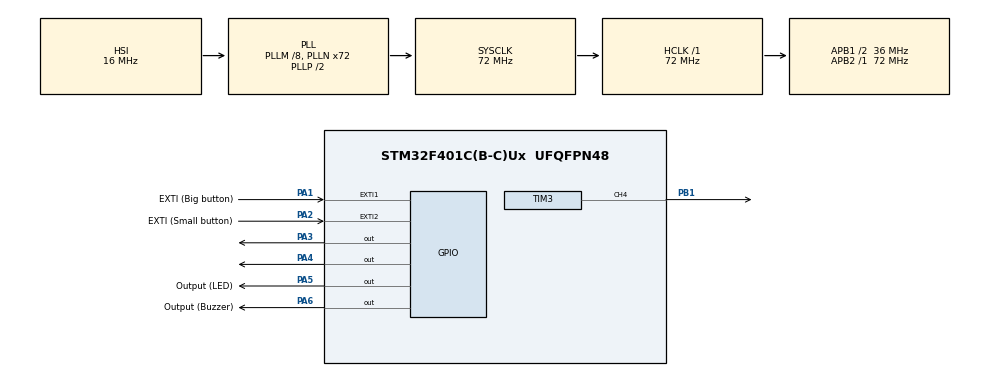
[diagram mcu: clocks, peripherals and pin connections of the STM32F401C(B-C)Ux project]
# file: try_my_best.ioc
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Mcu.Family=STM32F4
Mcu.Name=STM32F401C(B-C)Ux
Mcu.Package=UFQFPN48
NVIC.EXTI1_IRQn=true\:0\:0\:false\:false\:true\:true\:true\:true
NVIC.EXTI2_IRQn=true\:0\:0\:false\:false\:true\:true\:true\:true
NVIC.PriorityGroup=NVIC_PRIORITYGROUP_4
NVIC.RTC_Alarm_IRQn=true\:0\:0\:false\:false\:true\:true\:true\:true
NVIC.TIM2_IRQn=true\:0\:0\:false\:false\:true\:true\:true\:true
NVIC.TIM3_IRQn=true\:0\:0\:false\:false\:true\:true\:true\:true
PA1.GPIO_Label=EXTI (Big button)
PA1.GPIO_PuPd=GPIO_PULLDOWN
PA1.Signal=GPXTI1
PA13.Mode=Serial_Wire
PA13.Signal=SYS_JTMS-SWDIO
PA14.Mode=Serial_Wire
PA14.Signal=SYS_JTCK-SWCLK
PA2.GPIO_Label=EXTI (Small button)
PA2.GPIO_PuPd=GPIO_PULLDOWN
PA2.Signal=GPXTI2
PA3.GPIO_PuPd=GPIO_NOPULL
PA3.Signal=GPIO_Output
PA4.Signal=GPIO_Output
PA5.GPIO_Label=Output (LED)
PA5.Signal=GPIO_Output
PA6.GPIO_Label=Output (Buzzer)
PA6.Signal=GPIO_Output
PB1.GPIO_PuPd=GPIO_NOPULL
PB1.Signal=S_TIM3_CH4
PC14-OSC32_IN.Mode=LSE-External-Oscillator
PC14-OSC32_IN.Signal=RCC_OSC32_IN
PC15-OSC32_OUT.Mode=LSE-External-Oscillator
PC15-OSC32_OUT.Signal=RCC_OSC32_OUT
PH0\ -\ OSC_IN.Mode=HSE-External-Oscillator
PH0\ -\ OSC_IN.Signal=RCC_OSC_IN
PH1\ -\ OSC_OUT.Mode=HSE-External-Oscillator
PH1\ -\ OSC_OUT.Signal=RCC_OSC_OUT
ProjectManager.HeapSize=0x200
ProjectManager.StackSize=0x400
ProjectManager.TargetToolchain=STM32CubeIDE
RCC.48MHZClocksFreq_Value=36000000
RCC.AHBFreq_Value=72000000
RCC.APB1CLKDivider=RCC_HCLK_DIV2
RCC.APB1Freq_Value=36000000
RCC.APB1TimFreq_Value=72000000
RCC.APB2Freq_Value=72000000
RCC.APB2TimFreq_Value=72000000
RCC.CortexFreq_Value=72000000
RCC.HCLKFreq_Value=72000000
RCC.HSE_VALUE=25000000
RCC.HSI_VALUE=16000000
RCC.PLLM=8
RCC.PLLN=72
RCC.SYSCLKFreq_VALUE=72000000
RCC.SYSCLKSource=RCC_SYSCLKSOURCE_PLLCLK
RCC.VCOOutputFreq_Value=144000000
RTC.Alarm=RTC_ALARM_A
RTC.Hours=0
RTC.Hours_A=0
RTC.Seconds_A=2
SH.S_TIM3_CH4.0=TIM3_CH4,PWM Generation4 CH4
TIM2.Period=50
TIM2.Prescaler=7199
TIM3.Channel-PWM\ Generation4\ CH4=TIM_CHANNEL_4
TIM3.Period=399
TIM3.Prescaler=3599
VP_RTC_VS_RTC_Activate.Mode=RTC_Enabled
VP_RTC_VS_RTC_Alarm_A_Intern.Mode=Alarm A
VP_RTC_VS_RTC_Calendar.Mode=RTC_Calendar
VP_TIM2_VS_ClockSourceINT.Mode=Internal
VP_TIM3_VS_ClockSourceINT.Mode=Internal
board=custom

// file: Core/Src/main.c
/* USER CODE BEGIN Header */
/**
  **************************
  * @file           : main.c
  * @brief          : Main program body
  **************************
  * @attention
  *
  * Copyright (c) 2025 STMicroelectronics.
  * All rights reserved.
  *
  * This software is licensed under terms that can be found in the LICENSE file
  * in the root directory of this software component.
  * If no LICENSE file comes with this software, it is provided AS-IS.
  *
  **************************
  */
/* USER CODE END Header */
#include "main.h"

RTC_HandleTypeDef hrtc;

TIM_HandleTypeDef htim2;
TIM_HandleTypeDef htim3;

/* USER CODE BEGIN PV */
void BusyWaitDelay(uint32_t);
void alarm_reset(RTC_TimeTypeDef *current_time, uint32_t seconds_to_add);
int servoMove = 0;
int alarmStandby = 1;
/* USER CODE END PV */

void SystemClock_Config(void);
static void MX_GPIO_Init(void);
static void MX_TIM2_Init(void);
static void MX_TIM3_Init(void);
static void MX_RTC_Init(void);

int main(void)
{

  /* MCU Configuration--------------------------------------------------------*/

  /* Reset of all peripherals, Initializes the Flash interface and the Systick. */
  HAL_Init();

  /* Configure the system clock */
  SystemClock_Config();

  /* Initialize all configured peripherals */
  MX_GPIO_Init();
  MX_TIM2_Init();
  MX_TIM3_Init();
  MX_RTC_Init();
  /* USER CODE BEGIN 2 */
  HAL_TIM_Base_Start_IT(&htim2);
  HAL_TIM_Base_Start_IT(&htim3);
  HAL_NVIC_DisableIRQ(TIM2_IRQn);
  HAL_TIM_PWM_Start(&htim3, TIM_CHANNEL_4);

  /* USER CODE END 2 */

  /* Infinite loop */
  while (1)
  {

    /* USER CODE BEGIN 3 */
	  if(servoMove == 1){
		  __HAL_TIM_SET_COMPARE(&htim3, TIM_CHANNEL_4, 1);
		  HAL_Delay(95);
		  __HAL_TIM_SET_COMPARE(&htim3, TIM_CHANNEL_4, 0);
		  servoMove = 0;
	  }
  }
  /* USER CODE END 3 */
}

void SystemClock_Config(void)
{
  RCC_OscInitTypeDef RCC_OscInitStruct = {0};
  RCC_ClkInitTypeDef RCC_ClkInitStruct = {0};

  /** Configure the main internal regulator output voltage
  */
  __HAL_RCC_PWR_CLK_ENABLE();
  __HAL_PWR_VOLTAGESCALING_CONFIG(PWR_REGULATOR_VOLTAGE_SCALE2);

  /** Initializes the RCC Oscillators according to the specified parameters
  * in the RCC_OscInitTypeDef structure.
  */
  RCC_OscInitStruct.OscillatorType = RCC_OSCILLATORTYPE_HSI|RCC_OSCILLATORTYPE_LSI;
  RCC_OscInitStruct.HSIState = RCC_HSI_ON;
  RCC_OscInitStruct.HSICalibrationValue = RCC_HSICALIBRATION_DEFAULT;
  RCC_OscInitStruct.LSIState = RCC_LSI_ON;
  RCC_OscInitStruct.PLL.PLLState = RCC_PLL_ON;
  RCC_OscInitStruct.PLL.PLLSource = RCC_PLLSOURCE_HSI;
  RCC_OscInitStruct.PLL.PLLM = 8;
  RCC_OscInitStruct.PLL.PLLN = 72;
  RCC_OscInitStruct.PLL.PLLP = RCC_PLLP_DIV2;
  RCC_OscInitStruct.PLL.PLLQ = 4;
  if (HAL_RCC_OscConfig(&RCC_OscInitStruct) != HAL_OK)
  {
    Error_Handler();
  }

  /** Initializes the CPU, AHB and APB buses clocks
  */
  RCC_ClkInitStruct.ClockType = RCC_CLOCKTYPE_HCLK|RCC_CLOCKTYPE_SYSCLK
                              |RCC_CLOCKTYPE_PCLK1|RCC_CLOCKTYPE_PCLK2;
  RCC_ClkInitStruct.SYSCLKSource = RCC_SYSCLKSOURCE_PLLCLK;
  RCC_ClkInitStruct.AHBCLKDivider = RCC_SYSCLK_DIV1;
  RCC_ClkInitStruct.APB1CLKDivider = RCC_HCLK_DIV2;
  RCC_ClkInitStruct.APB2CLKDivider = RCC_HCLK_DIV1;

  if (HAL_RCC_ClockConfig(&RCC_ClkInitStruct, FLASH_LATENCY_2) != HAL_OK)
  {
    Error_Handler();
  }
}

static void MX_RTC_Init(void)
{

  RTC_TimeTypeDef sTime = {0};
  RTC_DateTypeDef sDate = {0};
  RTC_AlarmTypeDef sAlarm = {0};

  /** Initialize RTC Only
  */
  hrtc.Instance = RTC;
  hrtc.Init.HourFormat = RTC_HOURFORMAT_24;
  hrtc.Init.AsynchPrediv = 127;
  hrtc.Init.SynchPrediv = 255;
  hrtc.Init.OutPut = RTC_OUTPUT_DISABLE;
  hrtc.Init.OutPutPolarity = RTC_OUTPUT_POLARITY_HIGH;
  hrtc.Init.OutPutType = RTC_OUTPUT_TYPE_OPENDRAIN;
  if (HAL_RTC_Init(&hrtc) != HAL_OK)
  {
    Error_Handler();
  }

  /** Initialize RTC and set the Time and Date
  */
  sTime.Hours = 0x0;
  sTime.Minutes = 0x0;
  sTime.Seconds = 0x0;
  sTime.DayLightSaving = RTC_DAYLIGHTSAVING_NONE;
  sTime.StoreOperation = RTC_STOREOPERATION_RESET;
  if (HAL_RTC_SetTime(&hrtc, &sTime, RTC_FORMAT_BCD) != HAL_OK)
  {
    Error_Handler();
  }
  sDate.WeekDay = RTC_WEEKDAY_MONDAY;
  sDate.Month = RTC_MONTH_JANUARY;
  sDate.Date = 0x1;
  sDate.Year = 0x0;

  if (HAL_RTC_SetDate(&hrtc, &sDate, RTC_FORMAT_BCD) != HAL_OK)
  {
    Error_Handler();
  }

  /** Enable the Alarm A
  */
  sAlarm.AlarmTime.Hours = 0x0;
  sAlarm.AlarmTime.Minutes = 0x0;
  sAlarm.AlarmTime.Seconds = 0x2;
  sAlarm.AlarmTime.SubSeconds = 0x0;
  sAlarm.AlarmTime.DayLightSaving = RTC_DAYLIGHTSAVING_NONE;
  sAlarm.AlarmTime.StoreOperation = RTC_STOREOPERATION_RESET;
  sAlarm.AlarmMask = RTC_ALARMMASK_NONE;
  sAlarm.AlarmSubSecondMask = RTC_ALARMSUBSECONDMASK_ALL;
  sAlarm.AlarmDateWeekDaySel = RTC_ALARMDATEWEEKDAYSEL_DATE;
  sAlarm.AlarmDateWeekDay = 0x1;
  sAlarm.Alarm = RTC_ALARM_A;
  if (HAL_RTC_SetAlarm_IT(&hrtc, &sAlarm, RTC_FORMAT_BCD) != HAL_OK)
  {
    Error_Handler();
  }

}

static void MX_TIM2_Init(void)
{

  TIM_ClockConfigTypeDef sClockSourceConfig = {0};
  TIM_MasterConfigTypeDef sMasterConfig = {0};

  htim2.Instance = TIM2;
  htim2.Init.Prescaler = 7199;
  htim2.Init.CounterMode = TIM_COUNTERMODE_UP;
  htim2.Init.Period = 50;
  htim2.Init.ClockDivision = TIM_CLOCKDIVISION_DIV1;
  htim2.Init.AutoReloadPreload = TIM_AUTORELOAD_PRELOAD_DISABLE;
  if (HAL_TIM_Base_Init(&htim2) != HAL_OK)
  {
    Error_Handler();
  }
  sClockSourceConfig.ClockSource = TIM_CLOCKSOURCE_INTERNAL;
  if (HAL_TIM_ConfigClockSource(&htim2, &sClockSourceConfig) != HAL_OK)
  {
    Error_Handler();
  }
  sMasterConfig.MasterOutputTrigger = TIM_TRGO_RESET;
  sMasterConfig.MasterSlaveMode = TIM_MASTERSLAVEMODE_DISABLE;
  if (HAL_TIMEx_MasterConfigSynchronization(&htim2, &sMasterConfig) != HAL_OK)
  {
    Error_Handler();
  }

}

static void MX_TIM3_Init(void)
{

  TIM_ClockConfigTypeDef sClockSourceConfig = {0};
  TIM_MasterConfigTypeDef sMasterConfig = {0};
  TIM_OC_InitTypeDef sConfigOC = {0};

  htim3.Instance = TIM3;
  htim3.Init.Prescaler = 3599;
  htim3.Init.CounterMode = TIM_COUNTERMODE_UP;
  htim3.Init.Period = 399;
  htim3.Init.ClockDivision = TIM_CLOCKDIVISION_DIV1;
  htim3.Init.AutoReloadPreload = TIM_AUTORELOAD_PRELOAD_DISABLE;
  if (HAL_TIM_Base_Init(&htim3) != HAL_OK)
  {
    Error_Handler();
  }
  sClockSourceConfig.ClockSource = TIM_CLOCKSOURCE_INTERNAL;
  if (HAL_TIM_ConfigClockSource(&htim3, &sClockSourceConfig) != HAL_OK)
  {
    Error_Handler();
  }
  if (HAL_TIM_PWM_Init(&htim3) != HAL_OK)
  {
    Error_Handler();
  }
  sMasterConfig.MasterOutputTrigger = TIM_TRGO_RESET;
  sMasterConfig.MasterSlaveMode = TIM_MASTERSLAVEMODE_DISABLE;
  if (HAL_TIMEx_MasterConfigSynchronization(&htim3, &sMasterConfig) != HAL_OK)
  {
    Error_Handler();
  }
  sConfigOC.OCMode = TIM_OCMODE_PWM1;
  sConfigOC.Pulse = 0;
  sConfigOC.OCPolarity = TIM_OCPOLARITY_HIGH;
  sConfigOC.OCFastMode = TIM_OCFAST_DISABLE;
  if (HAL_TIM_PWM_ConfigChannel(&htim3, &sConfigOC, TIM_CHANNEL_4) != HAL_OK)
  {
    Error_Handler();
  }
  HAL_TIM_MspPostInit(&htim3);

}

static void MX_GPIO_Init(void)
{
  GPIO_InitTypeDef GPIO_InitStruct = {0};

  /* GPIO Ports Clock Enable */
  __HAL_RCC_GPIOC_CLK_ENABLE();
  __HAL_RCC_GPIOH_CLK_ENABLE();
  __HAL_RCC_GPIOA_CLK_ENABLE();
  __HAL_RCC_GPIOB_CLK_ENABLE();

  /*Configure GPIO pin Output Level */
  HAL_GPIO_WritePin(GPIOA, Output_Pin|OutputA6_Pin, GPIO_PIN_RESET);

  /*Configure GPIO pin : EXTI_Pin */
  GPIO_InitStruct.Pin = EXTI_Pin;
  GPIO_InitStruct.Mode = GPIO_MODE_IT_RISING;
  GPIO_InitStruct.Pull = GPIO_PULLDOWN;
  HAL_GPIO_Init(EXTI_GPIO_Port, &GPIO_InitStruct);

  /*Configure GPIO pins : Output_Pin OutputA6_Pin */
  GPIO_InitStruct.Pin = Output_Pin|OutputA6_Pin;
  GPIO_InitStruct.Mode = GPIO_MODE_OUTPUT_PP;
  GPIO_InitStruct.Pull = GPIO_NOPULL;
  GPIO_InitStruct.Speed = GPIO_SPEED_FREQ_LOW;
  HAL_GPIO_Init(GPIOA, &GPIO_InitStruct);

  /* EXTI interrupt init*/
  HAL_NVIC_SetPriority(EXTI1_IRQn, 0, 0);
  HAL_NVIC_EnableIRQ(EXTI1_IRQn);

}

/* USER CODE BEGIN 4 */
void HAL_TIM_PeriodElapsedCallback(TIM_HandleTypeDef *htim)
{
  if(htim->Instance == TIM2)
  {
    HAL_GPIO_TogglePin(GPIOA, GPIO_PIN_6);
  }
}

void HAL_GPIO_EXTI_Callback(uint16_t GPIO_Pin) {
    if (GPIO_Pin == GPIO_PIN_1) {
    	if (alarmStandby == 0) {
			servoMove = 1;
		}

		// Turn GPIO_PIN_5 OFF
		HAL_GPIO_WritePin(GPIOA, GPIO_PIN_5, GPIO_PIN_RESET);

		// Disable TIM2 interrupt
		HAL_NVIC_DisableIRQ(TIM2_IRQn);

		// Turn GPIO_PIN_6 LOW
		HAL_GPIO_WritePin(GPIOA, GPIO_PIN_6, GPIO_PIN_RESET);

		// Record the current RTC time
		RTC_TimeTypeDef current_time;
		if (HAL_RTC_GetTime(&hrtc, &current_time, RTC_FORMAT_BIN) != HAL_OK) {
			Error_Handler();
		}

		// Reset Alarm A with the current time and desired seconds to add
		uint32_t seconds_to_add = 10; //there are 84600 seconds every day, which means the user takes medicine once a day.
		//the time interval between subsequent dose could be adjust via seconds_to_add
		alarm_reset(&current_time, seconds_to_add);
    }
}

void HAL_RTC_AlarmAEventCallback(RTC_HandleTypeDef *hrtc) {
    // Turn LED ON
    HAL_GPIO_WritePin(GPIOA, GPIO_PIN_5, GPIO_PIN_SET);
    HAL_NVIC_EnableIRQ(TIM2_IRQn);
    alarmStandby = 0;
}

void HAL_RTC_AlarmBEventCallback(RTC_HandleTypeDef *hrtc) {
    // Turn LED ON
    HAL_GPIO_WritePin(GPIOA, GPIO_PIN_5, GPIO_PIN_SET);
    HAL_GPIO_WritePin(GPIOA, GPIO_PIN_3, GPIO_PIN_SET);
    HAL_NVIC_EnableIRQ(TIM2_IRQn);
}

void BusyWaitDelay(uint32_t delay_ms) {
    volatile uint32_t i;
    for (i = 0; i < delay_ms * 1000; i++) {
    }
}

/**
  * @brief  Resets RTC Alarm A based on the current time and a specified number of seconds to add.
  * @param  current_time: Pointer to the current RTC time (RTC_TimeTypeDef)
  * @param  seconds_to_add: Number of seconds to add to the current time for the new alarm
  * @retval None
  */
void alarm_reset(RTC_TimeTypeDef *current_time, uint32_t seconds_to_add) {
    RTC_AlarmTypeDef sAlarmA_new = {0};
    RTC_DateTypeDef sDate;

    // Step 1: Get the current date
    if (HAL_RTC_GetDate(&hrtc, &sDate, RTC_FORMAT_BIN) != HAL_OK) {
        Error_Handler();
    }

    // Step 2: Calculate the new alarm time
    uint32_t total_seconds = current_time->Seconds + seconds_to_add;
    uint32_t new_seconds = total_seconds % 60;
    uint32_t total_minutes = current_time->Minutes + (total_seconds / 60);
    uint32_t new_minutes = total_minutes % 60;
    uint32_t total_hours = current_time->Hours + (total_minutes / 60);
    uint32_t new_hours = total_hours % 24;

    // Step 3: Deactivate existing Alarm A
    if (HAL_RTC_DeactivateAlarm(&hrtc, RTC_ALARM_A) != HAL_OK) {
        Error_Handler();
    }

    // Step 4: Configure the new Alarm A
    sAlarmA_new.AlarmTime.Hours = new_hours;
    sAlarmA_new.AlarmTime.Minutes = new_minutes;
    sAlarmA_new.AlarmTime.Seconds = new_seconds;
    sAlarmA_new.AlarmTime.SubSeconds = 0x0;
    sAlarmA_new.AlarmTime.DayLightSaving = RTC_DAYLIGHTSAVING_NONE;
    sAlarmA_new.AlarmTime.StoreOperation = RTC_STOREOPERATION_RESET;
    sAlarmA_new.AlarmMask = RTC_ALARMMASK_NONE; // Trigger on exact time
    sAlarmA_new.AlarmSubSecondMask = RTC_ALARMSUBSECONDMASK_ALL;
    sAlarmA_new.AlarmDateWeekDaySel = RTC_ALARMDATEWEEKDAYSEL_DATE;
    sAlarmA_new.AlarmDateWeekDay = sDate.Date; // Keep the same date
    sAlarmA_new.Alarm = RTC_ALARM_A;
    alarmStandby = 1;

    // Step 5: Set the new Alarm A with interrupt
    if (HAL_RTC_SetAlarm_IT(&hrtc, &sAlarmA_new, RTC_FORMAT_BIN) != HAL_OK) {
        Error_Handler();
    }

}

/* USER CODE END 4 */

void Error_Handler(void)
{
  __disable_irq();
  while (1)
  {
  }
}
